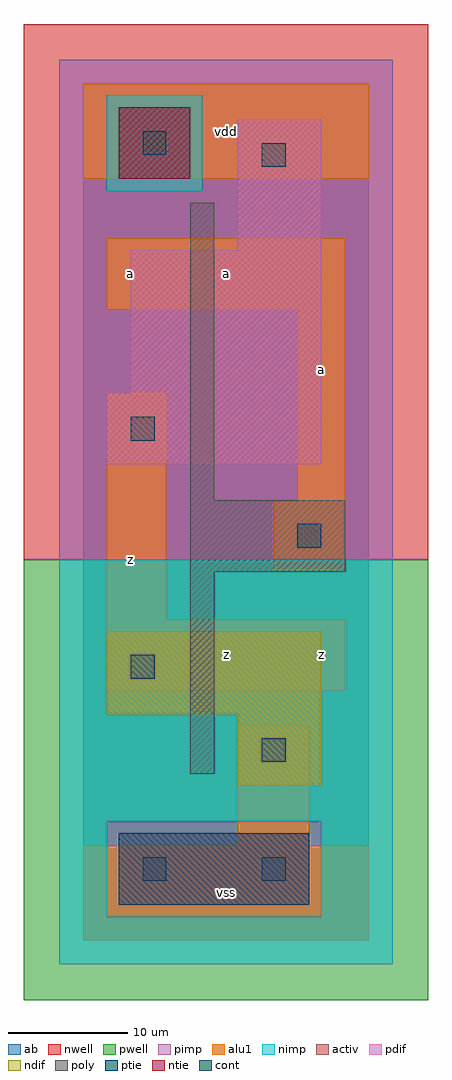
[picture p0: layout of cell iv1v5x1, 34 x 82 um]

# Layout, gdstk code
import gdstk
lib = gdstk.Library(unit=1e-6, precision=1e-09)
def R(c, l, rs):  # rectangles x0, y0, x1, y1
    for r in rs: c.add(gdstk.rectangle(r[:2], r[2:], *l))
ndif = (3, 0)
pdif = (4, 0)
ntie = (5, 0)
ptie = (6, 0)
cont = (25, 0)
pwell = (41, 0)
nwell = (42, 0)
activ = (43, 0)
pimp = (44, 0)
nimp = (45, 0)
poly = (46, 0)
alu1 = (49, 0)
ab = (63, 0)

iv1v5x1 = lib.new_cell('iv1v5x1')
R(iv1v5x1, ndif, [(13,13,20,19), (2,19,20,26)])
R(iv1v5x1, pdif, [(2,40,20,46), (4,46,20,58), (13,58,20,69)])
R(iv1v5x1, ntie, [(3,64,9,70)])
R(iv1v5x1, ptie, [(3,3,19,9)])
R(iv1v5x1, cont, [(5,5,7,7), (15,5,17,7), (15,15,17,17), (4,22,6,24), (18,33,20,35), (4,42,6,44), (15,65,17,67), (5,66,7,68)])
R(iv1v5x1, pwell, [(-5,-5,29,32)])
R(iv1v5x1, nwell, [(-5,32,29,77)])
R(iv1v5x1, activ, [(3,3,19,9), (13,13,20,19), (2,19,20,26), (2,40,20,46), (4,46,20,58), (13,58,20,69), (3,64,9,70)])
R(iv1v5x1, pimp, [(2,2,20,10), (-2,32,26,63), (-2,63,2,71), (10,63,26,71), (-2,71,26,74)])
R(iv1v5x1, nimp, [(-2,-2,26,2), (-2,2,2,10), (20,2,26,10), (-2,10,26,32), (2,63,10,71)])
R(iv1v5x1, poly, [(9,14,11,31), (9,31,22,37), (9,37,11,62)])
R(iv1v5x1, alu1, [(0,0,24,8), (13,8,19,18), (2,21,22,27), (2,27,7,46), (16,31,22,37), (18,37,22,53), (2,53,22,59), (0,64,24,72)])
R(iv1v5x1, ab, [(0,0,24,72)])
iv1v5x1.add(gdstk.Label('z', (4,32), layer=49, texttype=0))
iv1v5x1.add(gdstk.Label('a', (4,56), layer=49, texttype=0))
iv1v5x1.add(gdstk.Label('vss', (12,4), layer=49, texttype=0))
iv1v5x1.add(gdstk.Label('z', (12,24), layer=49, texttype=0))
iv1v5x1.add(gdstk.Label('a', (12,56), layer=49, texttype=0))
iv1v5x1.add(gdstk.Label('vdd', (12,68), layer=49, texttype=0))
iv1v5x1.add(gdstk.Label('z', (20,24), layer=49, texttype=0))
iv1v5x1.add(gdstk.Label('a', (20,48), layer=49, texttype=0))

lib.write_gds('iv1v5x1.gds')
